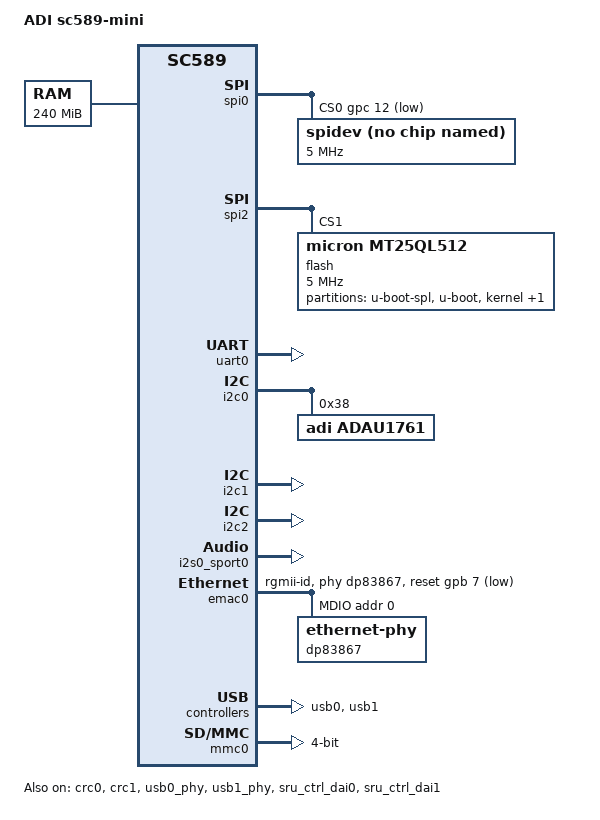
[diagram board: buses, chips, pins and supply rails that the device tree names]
/*
 * Device tree for ADI sc589-mini board
 *
 * Copyright 2014 - 2018 Analog Devices Inc.
 *
 * Licensed under the GPL-2 or later.
 *
 */

/dts-v1/;

#include <dt-bindings/gpio/gpio.h>
#include <dt-bindings/net/ti-dp83867.h>
#include <dt-bindings/pinctrl/adi,adsp-sc589-pinctrl.h>
#include <dt-bindings/pinctrl/adi-adsp-sru.h>
#include "sc58x.dtsi"

/ {
	model = "ADI sc589-mini";
	compatible = "adi,sc589-mini", "adi,sc58x";

	aliases {
	};

	memory@C3000000 {
		device_type = "memory";
		reg = <0xC3000000 0xF000000>;
	};

	reserved-memory {
		vdev0vrings: vdev0vring0@200A0000 {
			reg = <0x200A0000 0x4000>;
			no-map;
		};

		vdev0buffer: vdev0buffer@200A4000 {
			compatible = "shared-dma-pool";
			reg = <0x200A4000 0xC000>;
			no-map;
		};

		vdev1vrings: vdev0vring0@200B0000 {
			reg = <0x200B0000 0x4000>;
			no-map;
		};

		vdev1buffer: vdev0buffer@200B4000 {
			compatible = "shared-dma-pool";
			reg = <0x200B4000 0xC000>;
			no-map;
		};
	};

	scb {

		button0: button@0 {
			compatible = "adi,button-led";
			button_gpio = <80>;
			led_gpio = <49>;
		};
		button1: button@1 {
			compatible = "adi,button-led";
			button_gpio = <81>;
			led_gpio = <50>;
		};

		core1-rproc@28240000 {
			compatible = "adi,remoteproc";
			reg = <0x28240000 0x160000>,
					<0x20080000 0x40000>;
			core-id = <1>;
			firmware-name = "adi_adsp_core1_fw.ldr";
			interrupts = <GIC_SPI 251 IRQ_TYPE_EDGE_RISING>;
			adi,svect = <&rcu 0x24>;
			resets = <&rcu 1 0>, <&rcu 1 1>;
			reset-names = "crst", "start";
			mboxes = <&tru 97>; /* trigger master SOFT4 */
			mbox-names = "kick";
			adi,l1-da = <0x240000 0x3a0000>;
			adi,l2-da = <0x20080000 0x200C0000>;
			adi,rsc-table = <&rsc_tbl0>;
		};

		core2-rproc@28a40000 {
			compatible = "adi,remoteproc";
			reg = <0x28a40000 0x160000>,
					<0x20080000 0x40000>;
			core-id = <2>;
			firmware-name = "adi_adsp_core2_fw.ldr";
			interrupts = <GIC_SPI 251 IRQ_TYPE_EDGE_RISING>;
			adi,svect = <&rcu 0x28>;
			resets = <&rcu 2 0>, <&rcu 2 1>;
			reset-names = "crst", "start";
			mboxes = <&tru 98>; /* trigger master SOFT5 */
			mbox-names = "kick";
			adi,l1-da = <0x240000 0x3a0000>;
			adi,l2-da = <0x20080000 0x200C0000>;
			adi,rsc-table = <&rsc_tbl1>;
		};

		sound {
			compatible = "adi,sc5xx-asoc-card";
			adi,cpu-dai = <&i2s0_sport0>;
			adi,codec = <&adau1761>;
		};
	};
};

&spi0 {
	pinctrl-names = "default";
	pinctrl-0 = <&spi0_default>;
	status = "okay";

	cs-gpios = <&gpc 12 GPIO_ACTIVE_LOW>,
				<&gpc 0 GPIO_ACTIVE_LOW>;

	spidev@0 {
		#address-cells = <1>;
		#size-cells = <1>;
		compatible = "rohm,dh2228fv";
		spi-max-frequency = <5000000>;
		reg = <0>;
	};
};

&spi2 {
	pinctrl-names = "default";
	pinctrl-0 = <&spi2_quad>;

	status = "okay";

	flash@1 {
		#address-cells = <1>;
		#size-cells = <1>;
		compatible = "micron,mt25ql512", "jedec,spi-nor";
		spi-max-frequency = <5000000>;
		reg = <1>;

		partition@0 {
			label = "u-boot-spl";
			reg = <0x0 0x20000>;
		};

		partition@1 {
			label = "u-boot";
			reg = <0x20000 0xb0000>;
		};

		partition@2 {
			label = "kernel";
			reg = <0x00d0000 0x810000>;
		};

		partition@3 {
			label = "rootfs";
			reg = <0x08e0000 0x3720000>;
		};
	};
};

&uart0 {
	pinctrl-names = "default";
	pinctrl-0 = <&uart0_default>;
	status = "okay";
};

&crc0 {
	status = "okay";
};

&crc1 {
	status = "okay";
};

&i2c0 {
	status = "okay";

	adau1761: adau1761@38{
		compatible = "adi,adau1761";
		reg = <0x38>;
	};
};

&i2c1 {
	status = "okay";
};

&i2c2 {
	status = "okay";
};

&i2s0_sport0 {
	pinctrl-names = "default";
	pinctrl-0 = <&sru_dai0>;
	status = "okay";
};

&emac0 {
	snps,reset-gpio = <&gpb 7 0>;
	snps,reset-active-low;
	snps,reset-delays-us = <0 10000 1000000>;
	phy-handle = <&dp83867>;
	phy-mode = "rgmii-id";
	pinctrl-names = "default";
	pinctrl-0 = <&eth0_default>;
	status = "okay";
	mdio0 {
		compatible = "snps,dwmac-mdio";
		#address-cells = <1>;
		#size-cells = <0>;
		dp83867: ethernet-phy@0 {
			reg = <0>;
			ti,rx-internal-delay = <DP83867_RGMIIDCTL_2_00_NS>;
			ti,tx-internal-delay = <DP83867_RGMIIDCTL_2_00_NS>;
			ti,fifo-depth = <DP83867_PHYCR_FIFO_DEPTH_8_B_NIB>;
			ti,dp83867-rxctrl-strap-quirk;
		};
	};
};

&usb0_phy {
	status = "okay";
};

&usb0 {
	/* mode = <2>; Place OTG port into Device Mode */
	/* mode = <1>; Place OTG port into Host Mode */
	mode = <1>;
	status = "okay";
};

&usb1_phy {
	status = "okay";
};

&usb1 {
	mode = <1>; /* Host port */
	status = "okay";
};

&mmc0 {
	bus-width = <4>;
	pinctrl-names = "default";
	pinctrl-0 = <&mmc0_4bgrp>;
	cap-sd-highspeed;
	status = "okay";
};

&sram_mmap {
	status = "okay";
};

&sru_ctrl_dai0 {
	status = "okay";

	sru_dai0: sru_dai0_mux {
		route {
			sru-routing =
				<DAI0_HIGH_F         DAI0_PBEN01_I>,  /* set DAI0_PIN01 for ADAU1761 DAC data as an output */
				<DAI0_LOW_F          DAI0_PBEN02_I>,  /* set DAI0_PIN02 for ADAU1761 ADC data as an input */
				<DAI0_LOW_F          DAI0_PBEN03_I>,  /* set DAI0_PIN03 for ADAU1761 CLK as an input */
				<DAI0_LOW_F          DAI0_PBEN04_I>,  /* set DAI0_PIN04 for ADAU1761 FS as an input */

				<DAI0_PB01_O_ABCDE   SPT0_AD0_I>,  /* DAI0_PIN01 to SPT0_AD0 */
				<DAI0_PB03_O_ABCDE   SPT0_ACLK_I>, /* DAI0_PIN03 to SPT0_ACLK */
				<DAI0_PB04_O_ABCDE   SPT0_AFS_I>,  /* DAI0_PIN04 to SPT0_AFS */

				<DAI0_PB02_O_ABCDE   SPT0_BD0_I>,  /* DAI0_PIN02 to SPT0_BD0 */
				<DAI0_PB03_O_ABCDE   SPT0_BCLK_I>, /* DAI0_PIN03 to SPT0_BCLK */
				<DAI0_PB04_O_ABCDE   SPT0_BFS_I>;  /* DAI0_PIN04 to SPT0_BFS */
		};
	};
};

&sru_ctrl_dai1 {
	status = "okay";
};

&tru {
	rpmsg_to_a55: channel@0 {
		adi,tru-master-id = <96>; /* trigger master SOFT3 */
		adi,tru-slave-id = <87>; /* TRU0_IRQ3 */
	};
	rpmsg_to_sharc0: channel@1 {
		adi,tru-master-id = <97>; /* trigger master SOFT4 */
		adi,tru-slave-id = <91>; /* TRU0_IRQ7 */
	};
	rpmsg_to_sharc1: channel@2 {
		adi,tru-master-id = <98>; /* trigger master SOFT5 */
		adi,tru-slave-id = <95>; /* TRU0_IRQ11 */
	};
};

&pinctrl {
	uart0_default: uart0-default-pins {
		pinmux = <SC589_PC13__UART0_TX
			  SC589_PC14__UART0_RX>;
	};

	uart0_hwflow: uart0-hwflow-pins {
		pinmux = <SC589_PC13__UART0_TX
			  SC589_PC14__UART0_RX
			  SC589_PC15__UART0_RTS
			  SC589_PD00__UART0_CTS>;
	};

	spi0_default: spi0-default-pins {
		pinmux = <SC589_PC09__SPI0_CLK
			  SC589_PC10__SPI0_MISO
			  SC589_PC11__SPI0_MOSI>;
	};

	spi1_default: spi1-default-pins {
		pinmux = <SC589_PE13__SPI1_CLK
			  SC589_PE14__SPI1_MISO
			  SC589_PE15__SPI1_MOSI>;
	};

	spi2_quad: spi2-quad-pins {
		pinmux = <SC589_PC01__SPI2_CLK
			  SC589_PC02__SPI2_MISO
			  SC589_PC03__SPI2_MOSI
			  SC589_PC04__SPI2_D2
			  SC589_PC05__SPI2_D3
			  SC589_PC06__SPI2_SEL1>;
	};

	eth0_default: eth0-default-pins {
		pinmux = <SC589_PA00__ETH0_TXD0
			  SC589_PA01__ETH0_TXD1
			  SC589_PA02__ETH0_MDC
			  SC589_PA03__ETH0_MDIO
			  SC589_PA04__ETH0_RXD0
			  SC589_PA05__ETH0_RXD1
			  SC589_PA06__ETH0_RXCLK_REFCLK
			  SC589_PA07__ETH0_CRS
			  SC589_PA08__ETH0_RXD2
			  SC589_PA09__ETH0_RXD3
			  SC589_PA10__ETH0_TXEN
			  SC589_PA11__ETH0_TXCLK
			  SC589_PA12__ETH0_TXD2
			  SC589_PA13__ETH0_TXD3>;
	};

	mmc0_4bgrp: mmc0-4bgrp-pins {
		pinmux = <SC589_PF02__MSI0_D0
			  SC589_PF03__MSI0_D1
			  SC589_PF04__MSI0_D2
			  SC589_PF05__MSI0_D3
			  SC589_PF10__MSI0_CMD
			  SC589_PF11__MSI0_CLK
			  SC589_PF12__MSI0_CD>;
	};

	ppi0_8b: ppi0-8b-pins {
		pinmux = <SC589_PE01__PPI0_FS2
			  SC589_PE02__PPI0_FS1
			  SC589_PE03__PPI0_CLK
			  SC589_PC15__PPI0_FS3
			  SC589_PE12__PPI0_D00
			  SC589_PE11__PPI0_D01
			  SC589_PE10__PPI0_D02
			  SC589_PE09__PPI0_D03
			  SC589_PE08__PPI0_D04
			  SC589_PE07__PPI0_D05
			  SC589_PE06__PPI0_D06
			  SC589_PE05__PPI0_D07>;
	};

	ppi0_16b: ppi0-16b-pins {
		pinmux = <SC589_PE01__PPI0_FS2
			  SC589_PE02__PPI0_FS1
			  SC589_PE03__PPI0_CLK
			  SC589_PC15__PPI0_FS3
			  SC589_PE12__PPI0_D00
			  SC589_PE11__PPI0_D01
			  SC589_PE10__PPI0_D02
			  SC589_PE09__PPI0_D03
			  SC589_PE08__PPI0_D04
			  SC589_PE07__PPI0_D05
			  SC589_PE06__PPI0_D06
			  SC589_PE05__PPI0_D07
			  SC589_PE04__PPI0_D08
			  SC589_PE00__PPI0_D09
			  SC589_PD15__PPI0_D10
			  SC589_PD14__PPI0_D11
			  SC589_PB04__PPI0_D12
			  SC589_PB05__PPI0_D13
			  SC589_PB00__PPI0_D14
			  SC589_PB01__PPI0_D15>;
	};

	ppi0_24b: ppi0-24b-pins {
		pinmux = <SC589_PE01__PPI0_FS2
			  SC589_PE02__PPI0_FS1
			  SC589_PE03__PPI0_CLK
			  SC589_PC15__PPI0_FS3
			  SC589_PE12__PPI0_D00
			  SC589_PE11__PPI0_D01
			  SC589_PE10__PPI0_D02
			  SC589_PE09__PPI0_D03
			  SC589_PE08__PPI0_D04
			  SC589_PE07__PPI0_D05
			  SC589_PE06__PPI0_D06
			  SC589_PE05__PPI0_D07
			  SC589_PE04__PPI0_D08
			  SC589_PE00__PPI0_D09
			  SC589_PD15__PPI0_D10
			  SC589_PD14__PPI0_D11
			  SC589_PB04__PPI0_D12
			  SC589_PB05__PPI0_D13
			  SC589_PB00__PPI0_D14
			  SC589_PB01__PPI0_D15
			  SC589_PB02__PPI0_D16
			  SC589_PB03__PPI0_D17
			  SC589_PD13__PPI0_D18
			  SC589_PD12__PPI0_D19
			  SC589_PE13__PPI0_D20
			  SC589_PE14__PPI0_D21
			  SC589_PE15__PPI0_D22
			  SC589_PD00__PPI0_D23>;
	};

	lp0_default: lp0-default-pins {
		pinmux = <SC589_PD02__LP0_D0
			  SC589_PD03__LP0_D1
			  SC589_PD04__LP0_D2
			  SC589_PD05__LP0_D3
			  SC589_PD06__LP0_D4
			  SC589_PD07__LP0_D5
			  SC589_PD08__LP0_D6
			  SC589_PD09__LP0_D7
			  SC589_PD10__LP0_CLK
			  SC589_PD11__LP0_ACK>;
	};

	lp1_default: lp1-default-pins {
		pinmux = <SC589_PB07__LP1_D0
			  SC589_PB08__LP1_D1
			  SC589_PB09__LP1_D2
			  SC589_PB10__LP1_D3
			  SC589_PB11__LP1_D4
			  SC589_PB12__LP1_D5
			  SC589_PB13__LP1_D6
			  SC589_PB14__LP1_D7
			  SC589_PC00__LP1_CLK
			  SC589_PB15__LP1_ACK>;
	};

	can0_default: can0-default-pins {
		pinmux = <SC589_PC07__CAN0_RX
			  SC589_PC08__CAN0_TX>;
	};

	can1_default: can1-default-pins {
		pinmux = <SC589_PB10__CAN1_RX
			  SC589_PB09__CAN1_TX>;
	};
};
